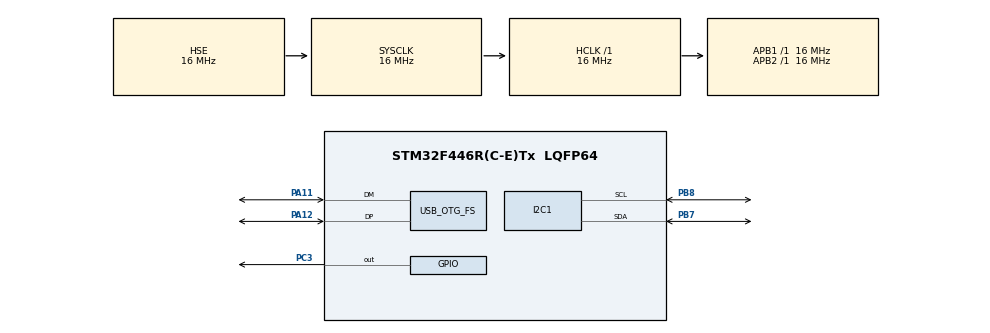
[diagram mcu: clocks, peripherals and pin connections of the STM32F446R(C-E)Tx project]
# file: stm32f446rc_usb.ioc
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I2C1.I2C_Mode=I2C_Fast
Mcu.Family=STM32F4
Mcu.Name=STM32F446R(C-E)Tx
Mcu.Package=LQFP64
NVIC.OTG_FS_IRQn=true\:0\:0\:false\:false\:true\:false\:true
NVIC.PriorityGroup=NVIC_PRIORITYGROUP_4
PA11.Mode=Device_Only
PA11.Signal=USB_OTG_FS_DM
PA12.Mode=Device_Only
PA12.Signal=USB_OTG_FS_DP
PB7.Mode=I2C
PB7.Signal=I2C1_SDA
PB8.Mode=I2C
PB8.Signal=I2C1_SCL
PC3.Signal=GPIO_Output
PH0-OSC_IN.Mode=HSE-External-Oscillator
PH0-OSC_IN.Signal=RCC_OSC_IN
PH1-OSC_OUT.Mode=HSE-External-Oscillator
PH1-OSC_OUT.Signal=RCC_OSC_OUT
ProjectManager.HeapSize=0x2000
ProjectManager.StackSize=0x600
ProjectManager.TargetToolchain=STM32CubeIDE
RCC.AHBFreq_Value=16000000
RCC.APB1Freq_Value=16000000
RCC.APB1TimFreq_Value=16000000
RCC.APB2Freq_Value=16000000
RCC.APB2TimFreq_Value=16000000
RCC.CortexFreq_Value=16000000
RCC.EnbaleCSS=true
RCC.HCLKFreq_Value=16000000
RCC.HSE_VALUE=16000000
RCC.PLLM=8
RCC.PLLN=72
RCC.PLLQ=3
RCC.PLLSourceVirtual=RCC_PLLSOURCE_HSE
RCC.SYSCLKFreq_VALUE=16000000
RCC.SYSCLKSource=RCC_SYSCLKSOURCE_HSE
RCC.USBFreq_Value=48000000
RCC.VCOOutputFreq_Value=144000000
USB_DEVICE.CLASS_NAME_FS=CDC
USB_DEVICE.VirtualMode-CDC_FS=Cdc
USB_DEVICE.VirtualModeFS=Cdc_FS
USB_OTG_FS.VirtualMode=Device_Only
VP_USB_DEVICE_VS_USB_DEVICE_CDC_FS.Mode=CDC_FS
board=custom

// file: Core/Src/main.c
/* USER CODE BEGIN Header */
/**
  ******************************************************************************
  * @file           : main.c
  * @brief          : Main program body
  ******************************************************************************
  * @attention
  *
  * <h2><center>&copy; Copyright (c) 2020 STMicroelectronics.
  * All rights reserved.</center></h2>
  *
  * This software component is licensed by ST under BSD 3-Clause license,
  * the "License"; You may not use this file except in compliance with the
  * License. You may obtain a copy of the License at:
  *                        opensource.org/licenses/BSD-3-Clause
  *
  ******************************************************************************
  */
/* USER CODE END Header */
#include "main.h"
#include "usb_device.h"

/* USER CODE BEGIN Includes */
#include "usbd_cdc_if.h"
#include "vicor.h"
/* USER CODE END Includes */

I2C_HandleTypeDef hi2c1;

/* USER CODE BEGIN PV */
//BCM4414 bcm; // Global BCM variable.
char msg[53];
/* USER CODE END PV */

void SystemClock_Config(void);
static void MX_GPIO_Init(void);
static void MX_I2C1_Init(void);
/* USER CODE BEGIN PFP */
void print_data(char *msg, char *data);
/* USER CODE END PFP */

int main(void)
{

  /* MCU Configuration--------------------------------------------------------*/

  /* Reset of all peripherals, Initializes the Flash interface and the Systick. */
  HAL_Init();

  /* Configure the system clock */
  SystemClock_Config();

  /* Initialize all configured peripherals */
  MX_GPIO_Init();
  MX_USB_DEVICE_Init();
  MX_I2C1_Init();

  /* Infinite loop */
  while (1)
  {

    /* USER CODE BEGIN 3 */
	  //uint8_t capability = read_capability(&hi2c1);
	  //read_status_specific(&hi2c1);
	  read_status_cml(&hi2c1);
	  /*read_status_iout(&hi2c1);
	  read_status_input(&hi2c1);*/

	  sprintf(msg, "%s      0x%x\n\r", "Status CML:", bcm.status_cml.all);
	  CDC_Transmit_FS((uint8_t*)msg, (uint16_t)strlen(msg));

	  clear_faults(&hi2c1);

	  /*get_mfr_partnr(&hi2c1);
	  get_mfr_serialnr(&hi2c1);
	  get_mfr_date(&hi2c1);
	  get_mfr_location(&hi2c1);
	  get_mfr_revision(&hi2c1);
	  read_temperature(&hi2c1);
	  read_iout(&hi2c1);
	  read_iin(&hi2c1);
	  read_pout(&hi2c1)*/;

	  HAL_StatusTypeDef myop = read_operation(&hi2c1);

	  switch (myop)
	      {
	      case HAL_ERROR:
	          sprintf(msg, "HAL Error.\r\n");
	          CDC_Transmit_FS((uint8_t*)msg, (uint16_t)strlen(msg));
	          break;
	      case HAL_BUSY:
	          sprintf(msg, "HAL Busy.\r\n");
	          CDC_Transmit_FS((uint8_t*)msg, (uint16_t)strlen(msg));
	          break;
	      case HAL_TIMEOUT:
	          sprintf(msg, "HAL Timeout.\r\n");
	          CDC_Transmit_FS((uint8_t*)msg, (uint16_t)strlen(msg));
	          break;

	      default:
	          // Keep default to ignore warning about HAL_OK case.
	          break;
	      }
	   write_page(&hi2c1, 0x01);
	   read_page(&hi2c1);

	  sprintf(msg, "%s      0x%x\n\r", "Operation:", bcm.operation);
	  CDC_Transmit_FS((uint8_t*)msg, (uint16_t)strlen(msg));

	  write_operation(&hi2c1, 0x80);
	  //myop = read_operation(&hi2c1);

	  /*switch (myop)
	  	      {
	  	      case HAL_ERROR:
	  	          sprintf(msg, "HAL Error.\r\n");
	  	          CDC_Transmit_FS((uint8_t*)msg, (uint16_t)strlen(msg));
	  	          break;
	  	      case HAL_BUSY:
	  	          sprintf(msg, "HAL Busy.\r\n");
	  	          CDC_Transmit_FS((uint8_t*)msg, (uint16_t)strlen(msg));
	  	          break;
	  	      case HAL_TIMEOUT:
	  	          sprintf(msg, "HAL Timeout.\r\n");
	  	          CDC_Transmit_FS((uint8_t*)msg, (uint16_t)strlen(msg));
	  	          break;

	  	      default:
	  	          // Keep default to ignore warning about HAL_OK case.
	  	          break;
	  	      }*/

	  sprintf(msg, "%s      0x%x\n\r", "Operation:", bcm.operation);
	  CDC_Transmit_FS((uint8_t*)msg, (uint16_t)strlen(msg));

	  write_page(&hi2c1, 0x00);

	  sprintf(msg, "%s      0x%x\n\r", "Operation:", bcm.operation);
	  CDC_Transmit_FS((uint8_t*)msg, (uint16_t)strlen(msg));

	  HAL_Delay(1000);

	  /*if (bcm.status_specific.bcm_uart_cml) {
		  sprintf(msg, "CML: BCM UART CML\r\n");
		  CDC_Transmit_FS((uint8_t*)msg, (uint16_t)strlen(msg));
	  }*/

	  /*sprintf(msg, "%s      0x%x\n\r", "Capability:", capability);
	  result = CDC_Transmit_FS((uint8_t*)msg, (uint16_t)strlen(msg));

	  if (result != USBD_OK) {
	  	Error_Handler();
	  }*/

	  /*if (result != USBD_OK) {
		Error_Handler();
	  }*/

	  /*sprintf(msg, "%s 0x%x\n\r", "Status Specific:", bcm.status_specific.all);
	  result = CDC_Transmit_FS((uint8_t*)msg, (uint16_t)strlen(msg));

	  if (result != USBD_OK) {
		Error_Handler();
	  }

	  sprintf(msg, "%s     0x%x\n\r", "Temperature:", bcm.measurements.temperature);
	  result = CDC_Transmit_FS((uint8_t*)msg, (uint16_t)strlen(msg));

	  if (result != USBD_OK) {
		Error_Handler();
	  }

	  sprintf(msg, "%s     0x%x\n\r", "Status Iout:", bcm.status_iout.all);
	  result = CDC_Transmit_FS((uint8_t*)msg, (uint16_t)strlen(msg));

	  if (result != USBD_OK) {
		Error_Handler();
	  }

	  sprintf(msg, "%s    0x%x\n\r", "Status Input:", bcm.status_input.all);
	  result = CDC_Transmit_FS((uint8_t*)msg, (uint16_t)strlen(msg));

	  if (result != USBD_OK) {
		Error_Handler();
	  }

	  sprintf(msg, "%s %d\n\r", "IOUT(A): ", bcm.measurements.iout);
	  result = CDC_Transmit_FS((uint8_t*)msg, (uint16_t)strlen(msg));

	  if (result != USBD_OK) {
		Error_Handler();
	  }

	  sprintf(msg, "%s  %d\n\r", "IIN(A): ", bcm.measurements.iin);
	  result = CDC_Transmit_FS((uint8_t*)msg, (uint16_t)strlen(msg));

	  if (result != USBD_OK) {
		Error_Handler();
	  }

	  sprintf(msg, "%s%d\n\r", "Power(W): ", bcm.measurements.pout);
	  result = CDC_Transmit_FS((uint8_t*)msg, (uint16_t)strlen(msg));

	  if (result != USBD_OK) {
		Error_Handler();
	  }*/

	  /*print_data("Part Number: ", bcm.module_specific.partno);
	  print_data("Serial Number: ", bcm.module_specific.serialno);
	  print_data("Manufacture Date: ", bcm.module_specific.date);
	  print_data("Manufacture Revision: ", bcm.module_specific.revision);
	  print_data("Manufacture Location: ", bcm.module_specific.location);*/

	  if (bcm.status_cml.cmd_stat_rx) {
		sprintf(msg, "CML: Invalid Or Unsupported Command Received\r\n");
		CDC_Transmit_FS((uint8_t*)msg, (uint16_t)strlen(msg));
	  }

	  if (bcm.status_cml.data_stat_rx) {
		sprintf(msg, "CML: Invalid Or Unsupported Data Received\r\n");
		CDC_Transmit_FS((uint8_t*)msg, (uint16_t)strlen(msg));
	  }

	  if (bcm.status_cml.other) {
		sprintf(msg, "CML: Other Communication Faults\r\n");
		CDC_Transmit_FS((uint8_t*)msg, (uint16_t)strlen(msg));
	  }

	  sprintf(msg, "\r\n");
	  CDC_Transmit_FS((uint8_t*)msg, (uint16_t)strlen(msg));
  }
  /* USER CODE END 3 */
}

void print_data(char *msg, char *data) {
	size_t len = strlen(msg)  // Description for data e.g. "Voltage Input: "
			   + strlen(data) // Actual data
			   + 2
			   + 1;           // '\0' null delimiter

	char buffer[len]; // Allocate space for message.
	snprintf(buffer, len, "%s%s\n\r", msg, data);
	uint8_t result = CDC_Transmit_FS((uint8_t*)buffer, (uint16_t)len);

    if (result != USBD_OK) {
		Error_Handler();
	}
}

void SystemClock_Config(void)
{
  RCC_OscInitTypeDef RCC_OscInitStruct = {0};
  RCC_ClkInitTypeDef RCC_ClkInitStruct = {0};
  RCC_PeriphCLKInitTypeDef PeriphClkInitStruct = {0};

  /** Configure the main internal regulator output voltage
  */
  __HAL_RCC_PWR_CLK_ENABLE();
  __HAL_PWR_VOLTAGESCALING_CONFIG(PWR_REGULATOR_VOLTAGE_SCALE3);
  /** Initializes the RCC Oscillators according to the specified parameters
  * in the RCC_OscInitTypeDef structure.
  */
  RCC_OscInitStruct.OscillatorType = RCC_OSCILLATORTYPE_HSE;
  RCC_OscInitStruct.HSEState = RCC_HSE_ON;
  RCC_OscInitStruct.PLL.PLLState = RCC_PLL_ON;
  RCC_OscInitStruct.PLL.PLLSource = RCC_PLLSOURCE_HSE;
  RCC_OscInitStruct.PLL.PLLM = 8;
  RCC_OscInitStruct.PLL.PLLN = 72;
  RCC_OscInitStruct.PLL.PLLP = RCC_PLLP_DIV2;
  RCC_OscInitStruct.PLL.PLLQ = 3;
  RCC_OscInitStruct.PLL.PLLR = 2;
  if (HAL_RCC_OscConfig(&RCC_OscInitStruct) != HAL_OK)
  {
    Error_Handler();
  }
  /** Initializes the CPU, AHB and APB buses clocks
  */
  RCC_ClkInitStruct.ClockType = RCC_CLOCKTYPE_HCLK|RCC_CLOCKTYPE_SYSCLK
                              |RCC_CLOCKTYPE_PCLK1|RCC_CLOCKTYPE_PCLK2;
  RCC_ClkInitStruct.SYSCLKSource = RCC_SYSCLKSOURCE_HSE;
  RCC_ClkInitStruct.AHBCLKDivider = RCC_SYSCLK_DIV1;
  RCC_ClkInitStruct.APB1CLKDivider = RCC_HCLK_DIV1;
  RCC_ClkInitStruct.APB2CLKDivider = RCC_HCLK_DIV1;

  if (HAL_RCC_ClockConfig(&RCC_ClkInitStruct, FLASH_LATENCY_0) != HAL_OK)
  {
    Error_Handler();
  }
  PeriphClkInitStruct.PeriphClockSelection = RCC_PERIPHCLK_CLK48;
  PeriphClkInitStruct.Clk48ClockSelection = RCC_CLK48CLKSOURCE_PLLQ;
  if (HAL_RCCEx_PeriphCLKConfig(&PeriphClkInitStruct) != HAL_OK)
  {
    Error_Handler();
  }
  /** Enables the Clock Security System
  */
  HAL_RCC_EnableCSS();
}

static void MX_I2C1_Init(void)
{

  hi2c1.Instance = I2C1;
  hi2c1.Init.ClockSpeed = 88000;
  hi2c1.Init.DutyCycle = I2C_DUTYCYCLE_2;
  hi2c1.Init.OwnAddress1 = 0;
  hi2c1.Init.AddressingMode = I2C_ADDRESSINGMODE_7BIT;
  hi2c1.Init.DualAddressMode = I2C_DUALADDRESS_DISABLE;
  hi2c1.Init.OwnAddress2 = 0;
  hi2c1.Init.GeneralCallMode = I2C_GENERALCALL_DISABLE;
  hi2c1.Init.NoStretchMode = I2C_NOSTRETCH_ENABLE;
  if (HAL_I2C_Init(&hi2c1) != HAL_OK)
  {
    Error_Handler();
  }

}

static void MX_GPIO_Init(void)
{
  GPIO_InitTypeDef GPIO_InitStruct = {0};

  /* GPIO Ports Clock Enable */
  __HAL_RCC_GPIOH_CLK_ENABLE();
  __HAL_RCC_GPIOC_CLK_ENABLE();
  __HAL_RCC_GPIOA_CLK_ENABLE();
  __HAL_RCC_GPIOB_CLK_ENABLE();

  /*Configure GPIO pin Output Level */
  HAL_GPIO_WritePin(GPIOC, GPIO_PIN_3, GPIO_PIN_RESET);

  /*Configure GPIO pin : PC3 */
  GPIO_InitStruct.Pin = GPIO_PIN_3;
  GPIO_InitStruct.Mode = GPIO_MODE_OUTPUT_PP;
  GPIO_InitStruct.Pull = GPIO_NOPULL;
  GPIO_InitStruct.Speed = GPIO_SPEED_FREQ_LOW;
  HAL_GPIO_Init(GPIOC, &GPIO_InitStruct);

}

void Error_Handler(void)
{
  /* USER CODE BEGIN Error_Handler_Debug */
  /* User can add his own implementation to report the HAL error return state */
	HAL_GPIO_WritePin(GPIOC, GPIO_PIN_3, GPIO_PIN_SET);
	HAL_Delay(10);
	HAL_GPIO_WritePin(GPIOC, GPIO_PIN_3, GPIO_PIN_RESET);
  /* USER CODE END Error_Handler_Debug */
}

/************************ (C) COPYRIGHT STMicroelectronics *****END OF FILE****/
